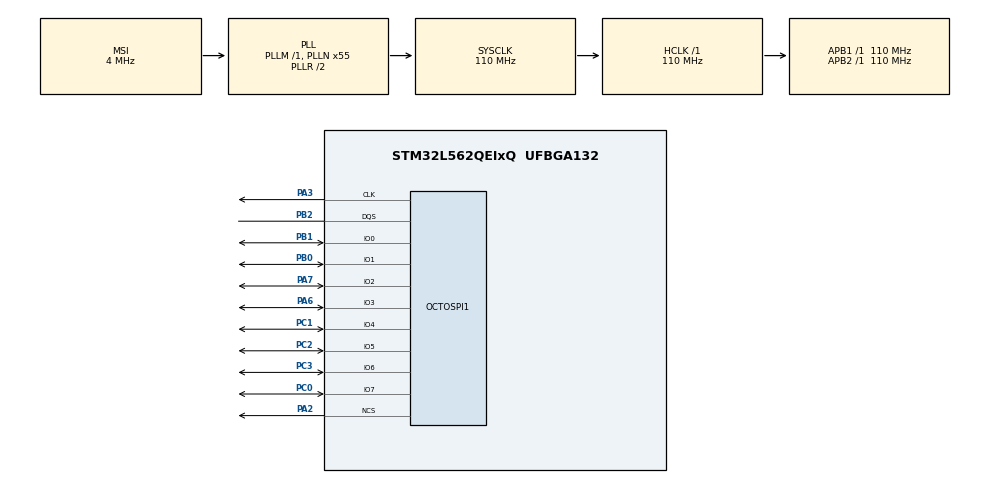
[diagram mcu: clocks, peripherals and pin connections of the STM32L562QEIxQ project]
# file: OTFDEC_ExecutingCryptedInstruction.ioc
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Mcu.Family=STM32L5
Mcu.Name=STM32L562QEIxQ
Mcu.Package=UFBGA132
NVIC.OTFDEC1_IRQn=true\:0\:0\:false\:false\:true\:true\:true\:true
NVIC.PriorityGroup=NVIC_PRIORITYGROUP_3
OCTOSPI1.ChipSelectHighTime=2
OCTOSPI1.ClockPrescaler=2
OCTOSPI1.DelayBlockBypass=HAL_OSPI_DELAY_BLOCK_USED
OCTOSPI1.DelayHoldQuarterCycle=HAL_OSPI_DHQC_ENABLE
OCTOSPI1.DeviceSize=26
OCTOSPI1.FifoThreshold=4
OCTOSPI1.MemoryType=HAL_OSPI_MEMTYPE_MACRONIX
PA2.GPIO_PuPd=GPIO_PULLUP
PA2.Mode=octods_mode
PA2.Signal=OCTOSPI1_NCS
PA3.Mode=octods_mode
PA3.Signal=OCTOSPI1_CLK
PA6.Mode=octods_mode
PA6.Signal=OCTOSPI1_IO3
PA7.Mode=octods_mode
PA7.Signal=OCTOSPI1_IO2
PB0.Mode=octods_mode
PB0.Signal=OCTOSPI1_IO1
PB1.Mode=octods_mode
PB1.Signal=OCTOSPI1_IO0
PB2.Mode=octods_mode
PB2.Signal=OCTOSPI1_DQS
PC0.Mode=octods_mode
PC0.Signal=OCTOSPI1_IO7
PC1.Mode=octods_mode
PC1.Signal=OCTOSPI1_IO4
PC2.Mode=octods_mode
PC2.Signal=OCTOSPI1_IO5
PC3.Mode=octods_mode
PC3.Signal=OCTOSPI1_IO6
ProjectManager.HeapSize=0x200
ProjectManager.StackSize=0x400
ProjectManager.TargetToolchain=EWARM V8.32
RCC.AHBFreq_Value=110000000
RCC.APB1Freq_Value=110000000
RCC.APB1TimFreq_Value=110000000
RCC.APB2Freq_Value=110000000
RCC.APB2TimFreq_Value=110000000
RCC.CortexFreq_Value=110000000
RCC.HCLKFreq_Value=110000000
RCC.HSE_VALUE=16000000
RCC.HSI48_VALUE=48000000
RCC.HSI_VALUE=16000000
RCC.LSE_VALUE=32768
RCC.MSI_VALUE=4000000
RCC.PLLN=55
RCC.SYSCLKFreq_VALUE=110000000
RCC.SYSCLKSource=RCC_SYSCLKSOURCE_PLLCLK
RCC.VCOOutputFreq_Value=220000000
VP_ICACHE_VS_ICACHE.Mode=DirectMappedCache
VP_OTFDEC1_VS_OTFDEC.Mode=OTFDEC_Activate
VP_PWR_VS_DBSignals.Mode=DisableDeadBatterySignals
board=custom

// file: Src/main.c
/* USER CODE BEGIN Header */
/**
  ******************************************************************************
  * @file    OTFDEC/OTFDEC_ExecutingCryptedInstruction/Src/main.c
  * @author  MCD Application Team
  * @brief    This example describes how to execute an encrypted instruction located
  *           on the OCTOSPI external flash using the OTFDEC peripheral.
  ******************************************************************************
  * @attention
  *
  * Copyright (c) 2019 STMicroelectronics.
  * All rights reserved.
  *
  * This software is licensed under terms that can be found in the LICENSE file
  * in the root directory of this software component.
  * If no LICENSE file comes with this software, it is provided AS-IS.
  *
  ******************************************************************************
  */
/* USER CODE END Header */
#include "main.h"

/* USER CODE BEGIN Includes */
#include "hal_octospi_utility.h"
#if defined(__GNUC__)
#include <stdio.h>
#include <stdlib.h>
#endif
/* USER CODE END Includes */

/* USER CODE BEGIN PTD */
typedef uint32_t (*Customized_f)(uint32_t a,uint32_t b);
/* USER CODE END PTD */

/* USER CODE BEGIN PD */
#define PAGE_SIZE                        0x100
#define BUFFER_SIZE                      0x100
#define START_ADRESS_OCTOSPI1            0x90000000
#define START_ADRESS_OTFDEC1_REGION2     0x90003000
#define END_ADRESS_OTFDEC1_REGION2       0x90003FFF
/* USER CODE END PD */

OSPI_HandleTypeDef hospi1;

OTFDEC_HandleTypeDef hotfdec1;

/* USER CODE BEGIN PV */
OTFDEC_RegionConfigTypeDef Config = {0};
Customized_f Decrypt_add15;
uint32_t Result_Decrypt_Add15 = 0;
uint32_t Key[4]={0xA9876543, 0x210FEDCB, 0xA9876543, 0x210FEDCB};
/* Ciphered instructions */
uint32_t Crypt_add[4] = {0x0ECE000A, 0x369DEFC3, 0x641DB7B1, 0x3F10275E};

uint32_t a=10;
uint32_t b=20;
/* USER CODE END PV */

void SystemClock_Config(void);
static void MX_GPIO_Init(void);
static void MX_ICACHE_Init(void);
static void MX_OCTOSPI1_Init(void);
static void MX_OTFDEC1_Init(void);
/* USER CODE BEGIN PFP */
static uint8_t Ref_CRC_computation(uint32_t * keyin);

#if defined(__GNUC__) && !defined(__ARMCC_VERSION)
extern void initialise_monitor_handles(void);
#endif
/* USER CODE END PFP */

int main(void)
{
  /* USER CODE BEGIN 1 */
#if defined(__GNUC__) && !defined(__ARMCC_VERSION)
  initialise_monitor_handles();	/*rtt*/
  printf("Semihosting Test...\n\r");
#endif
  /* USER CODE END 1 */

  /* MCU Configuration--------------------------------------------------------*/

  /* Reset of all peripherals, Initializes the Flash interface and the Systick. */
  HAL_Init();

  /* Configure the system clock */
  SystemClock_Config();

  /* Initialize all configured peripherals */
  MX_GPIO_Init();
  MX_ICACHE_Init();
  MX_OCTOSPI1_Init();
  MX_OTFDEC1_Init();
  /* USER CODE BEGIN 2 */
  /* Config OCTOSPI */
  OSPI_Config() ;

  /* Write Ciphered Data */
  OSPI_Write(Crypt_add, START_ADRESS_OTFDEC1_REGION2- START_ADRESS_OCTOSPI1, 4);

  /* Activate memory mapping */
  OSPI_MemoryMap();

  /* Enable all interruptions */
  __HAL_OTFDEC_ENABLE_IT(&hotfdec1, OTFDEC_ALL_INT);

  /* Set OTFDEC Mode */
  if (HAL_OTFDEC_RegionSetMode(&hotfdec1, OTFDEC_REGION2, OTFDEC_REG_MODE_INSTRUCTION_OR_DATA_ACCESSES) != HAL_OK)
  {
    Error_Handler();
  }

  /* Set OTFDEC Key */
  if (HAL_OTFDEC_RegionSetKey(&hotfdec1, OTFDEC_REGION2, Key) != HAL_OK)
  {
    Error_Handler();
   }

  /* Second CRC check. Superfluous at this point since done by default in HAL_OTFDEC_RegionSetKey()
     but shown in this example for illustration purposes */
  if ((uint8_t)(HAL_OTFDEC_RegionGetKeyCRC( &hotfdec1, OTFDEC_REGION2 )) !=  Ref_CRC_computation(Key))
  {
    Error_Handler();
  }

  /* Configure then activate OTFDEC decryption */
  Config.Nonce[0]     = 0x11111111;
  Config.Nonce[1]     = 0x55555555;
  Config.StartAddress = START_ADRESS_OTFDEC1_REGION2;
  Config.EndAddress   = END_ADRESS_OTFDEC1_REGION2;
  Config.Version      = 0xA5A5;
  if (HAL_OTFDEC_RegionConfig(&hotfdec1, OTFDEC_REGION2, &Config, OTFDEC_REG_CONFIGR_LOCK_ENABLE) != HAL_OK)
  {
    Error_Handler();
  }

  /* Executing opcode of arithmetic addition  */
  Decrypt_add15 = (Customized_f)(START_ADRESS_OTFDEC1_REGION2+1);
  Result_Decrypt_Add15 = Decrypt_add15(a,b);

  /* Output arithmetic addition result on debugger Terminal I/O using printf function */
  printf("%s%lu%s%lu%s\n"," When a and b are respectively equal to ", (unsigned long)a," and ", (unsigned long)b,",");
  printf("%s%lu\n"," a+b+15 computed by ciphered instructions is: ", (unsigned long)Result_Decrypt_Add15);
  printf("\n\r** Test finished successfully. ** \n\r");

  /* Turn on appropriate LED after checking the result */
  BSP_LED_Init(LED_GREEN);
  BSP_LED_Init(LED_RED);
  if ((a+b+15) != Result_Decrypt_Add15)
  {
    BSP_LED_On(LED_RED);
  }
  else
  {
    BSP_LED_On(LED_GREEN);
  }
  /* USER CODE END 2 */

  /* Infinite loop */
  while (1)
  {

  }
}

void SystemClock_Config(void)
{
  RCC_OscInitTypeDef RCC_OscInitStruct = {0};
  RCC_ClkInitTypeDef RCC_ClkInitStruct = {0};

  /** Configure the main internal regulator output voltage
  */
  if (HAL_PWREx_ControlVoltageScaling(PWR_REGULATOR_VOLTAGE_SCALE0) != HAL_OK)
  {
    Error_Handler();
  }

  /** Initializes the RCC Oscillators according to the specified parameters
  * in the RCC_OscInitTypeDef structure.
  */
  RCC_OscInitStruct.OscillatorType = RCC_OSCILLATORTYPE_MSI;
  RCC_OscInitStruct.MSIState = RCC_MSI_ON;
  RCC_OscInitStruct.MSICalibrationValue = RCC_MSICALIBRATION_DEFAULT;
  RCC_OscInitStruct.MSIClockRange = RCC_MSIRANGE_6;
  RCC_OscInitStruct.PLL.PLLState = RCC_PLL_ON;
  RCC_OscInitStruct.PLL.PLLSource = RCC_PLLSOURCE_MSI;
  RCC_OscInitStruct.PLL.PLLM = 1;
  RCC_OscInitStruct.PLL.PLLN = 55;
  RCC_OscInitStruct.PLL.PLLP = RCC_PLLP_DIV7;
  RCC_OscInitStruct.PLL.PLLQ = RCC_PLLQ_DIV2;
  RCC_OscInitStruct.PLL.PLLR = RCC_PLLR_DIV2;
  if (HAL_RCC_OscConfig(&RCC_OscInitStruct) != HAL_OK)
  {
    Error_Handler();
  }

  /** Initializes the CPU, AHB and APB buses clocks
  */
  RCC_ClkInitStruct.ClockType = RCC_CLOCKTYPE_HCLK|RCC_CLOCKTYPE_SYSCLK
                              |RCC_CLOCKTYPE_PCLK1|RCC_CLOCKTYPE_PCLK2;
  RCC_ClkInitStruct.SYSCLKSource = RCC_SYSCLKSOURCE_PLLCLK;
  RCC_ClkInitStruct.AHBCLKDivider = RCC_SYSCLK_DIV1;
  RCC_ClkInitStruct.APB1CLKDivider = RCC_HCLK_DIV1;
  RCC_ClkInitStruct.APB2CLKDivider = RCC_HCLK_DIV1;

  if (HAL_RCC_ClockConfig(&RCC_ClkInitStruct, FLASH_LATENCY_5) != HAL_OK)
  {
    Error_Handler();
  }
}

static void MX_ICACHE_Init(void)
{

  /** Enable instruction cache in 1-way (direct mapped cache)
  */
  if (HAL_ICACHE_ConfigAssociativityMode(ICACHE_1WAY) != HAL_OK)
  {
    Error_Handler();
  }
  if (HAL_ICACHE_Enable() != HAL_OK)
  {
    Error_Handler();
  }

}

static void MX_OCTOSPI1_Init(void)
{

  /* OCTOSPI1 parameter configuration*/
  hospi1.Instance = OCTOSPI1;
  hospi1.Init.FifoThreshold = 4;
  hospi1.Init.DualQuad = HAL_OSPI_DUALQUAD_DISABLE;
  hospi1.Init.MemoryType = HAL_OSPI_MEMTYPE_MACRONIX;
  hospi1.Init.DeviceSize = 26;
  hospi1.Init.ChipSelectHighTime = 2;
  hospi1.Init.FreeRunningClock = HAL_OSPI_FREERUNCLK_DISABLE;
  hospi1.Init.ClockMode = HAL_OSPI_CLOCK_MODE_0;
  hospi1.Init.WrapSize = HAL_OSPI_WRAP_NOT_SUPPORTED;
  hospi1.Init.ClockPrescaler = 2;
  hospi1.Init.SampleShifting = HAL_OSPI_SAMPLE_SHIFTING_NONE;
  hospi1.Init.DelayHoldQuarterCycle = HAL_OSPI_DHQC_ENABLE;
  hospi1.Init.ChipSelectBoundary = 0;
  hospi1.Init.DelayBlockBypass = HAL_OSPI_DELAY_BLOCK_USED;
  hospi1.Init.Refresh = 0;
  if (HAL_OSPI_Init(&hospi1) != HAL_OK)
  {
    Error_Handler();
  }

}

static void MX_OTFDEC1_Init(void)
{

  hotfdec1.Instance = OTFDEC1;
  if (HAL_OTFDEC_Init(&hotfdec1) != HAL_OK)
  {
    Error_Handler();
  }

}

static void MX_GPIO_Init(void)
{

  /* GPIO Ports Clock Enable */
  __HAL_RCC_GPIOC_CLK_ENABLE();
  __HAL_RCC_GPIOA_CLK_ENABLE();
  __HAL_RCC_GPIOB_CLK_ENABLE();

}

/* USER CODE BEGIN 4 */
/**
  * @brief  OTFDEC Key CRC computation
  * @note   Source code of the Key CRC computation. Function is used to compute
  *         the expected CRC and compare it with that provided by the Peripheral
  *         in KEYCRC bitfield after loading the key in OTFDEC_RxKEYR registers.
  * @param  keyin OTFDEC key
  * @retval 8-bit long CRC
  */
static uint8_t Ref_CRC_computation(uint32_t * keyin)
{
  uint8_t CRC7_POLY = 0x7;
  uint32_t key_strobe[4] = {0xAA55AA55, 0x3, 0x18, 0xC0};
  uint8_t  i, j, k, crc = 0x0;
  uint32_t  keyval;

  for (j = 0; j < 4; j++)
  {
    keyval = *(keyin+j);
    if (j == 0)
    {
      keyval ^= key_strobe[0];
    }
    else
    {
      keyval ^= (key_strobe[j] << 24) | (crc << 16) | (key_strobe[j] << 8) | crc;
    }

    for (i = 0, crc = 0; i < 32; i++)
    {
      k = (((crc >> 7) ^ ((keyval >> (31-i))&0xF))) & 1;
      crc <<= 1;
      if (k)
      {
        crc ^= CRC7_POLY;
       }
    }

    crc^=0x55;
  }

  return crc;

}

/**
  * @brief OTFDEC error callback.
  * @param  hotfdec_region pointer to a OTFDEC_Region_HandleTypeDef structure that contains
  *         the configuration information for OTFDEC module
  * @retval None
  */
void HAL_OTFDEC_ErrorCallback(OTFDEC_HandleTypeDef *hotfdec)
{

  if ((hotfdec->ErrorCode & OTFDEC_ISR_XONEIF) == OTFDEC_ISR_XONEIF)
  {
    /* Disable Execute-Only Execute-Never error interrupt */
    CLEAR_BIT( hotfdec->Instance->IER, OTFDEC_IER_XONEIE);

  }

}
/* USER CODE END 4 */

void Error_Handler(void)
{
  while(1)
  {
  }
}
